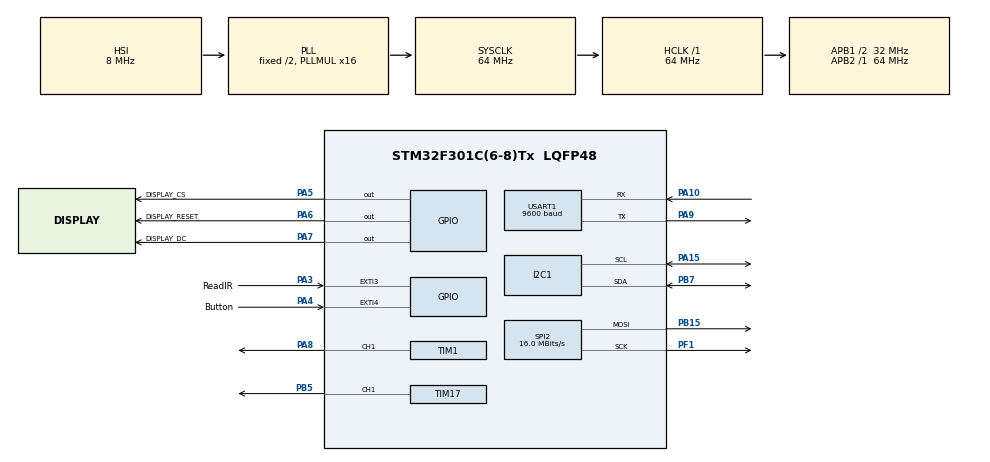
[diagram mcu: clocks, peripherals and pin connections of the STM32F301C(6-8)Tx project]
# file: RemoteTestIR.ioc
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Mcu.Family=STM32F3
Mcu.Name=STM32F301C(6-8)Tx
Mcu.Package=LQFP48
NVIC.EXTI3_IRQn=true\:0\:0\:false\:false\:true\:true\:true\:true
NVIC.PriorityGroup=NVIC_PRIORITYGROUP_4
PA10.Mode=Asynchronous
PA10.Signal=USART1_RX
PA15.Mode=I2C
PA15.Signal=I2C1_SCL
PA3.GPIO_Label=ReadIR
PA3.GPIO_ModeDefaultEXTI=GPIO_MODE_IT_RISING_FALLING
PA3.Signal=GPXTI3
PA4.GPIO_Label=Button
PA4.GPIO_ModeDefaultEXTI=GPIO_MODE_IT_RISING
PA4.GPIO_PuPd=GPIO_PULLUP
PA4.Signal=GPXTI4
PA5.GPIO_Label=DISPLAY_CS
PA5.Signal=GPIO_Output
PA6.GPIO_Label=DISPLAY_RESET
PA6.Signal=GPIO_Output
PA7.GPIO_Label=DISPLAY_DC
PA7.Signal=GPIO_Output
PA8.Signal=S_TIM1_CH1
PA9.Mode=Asynchronous
PA9.Signal=USART1_TX
PB15.Mode=TX_Only_Simplex_Unidirect_Master
PB15.Signal=SPI2_MOSI
PB5.Signal=S_TIM17_CH1
PB7.Mode=I2C
PB7.Signal=I2C1_SDA
PF1-OSC_OUT.Mode=TX_Only_Simplex_Unidirect_Master
PF1-OSC_OUT.Signal=SPI2_SCK
ProjectManager.HeapSize=0x200
ProjectManager.StackSize=0x400
ProjectManager.TargetToolchain=STM32CubeIDE
RCC.AHBFreq_Value=64000000
RCC.APB1CLKDivider=RCC_HCLK_DIV2
RCC.APB1Freq_Value=32000000
RCC.APB1TimFreq_Value=64000000
RCC.APB2Freq_Value=64000000
RCC.APB2TimFreq_Value=64000000
RCC.CortexFreq_Value=64000000
RCC.HCLKFreq_Value=64000000
RCC.HSE_VALUE=8000000
RCC.HSI_VALUE=8000000
RCC.LSE_VALUE=32768
RCC.PLLMUL=RCC_PLL_MUL16
RCC.SYSCLKFreq_VALUE=64000000
RCC.SYSCLKSourceVirtual=RCC_SYSCLKSOURCE_PLLCLK
SH.S_TIM17_CH1.0=TIM17_CH1,PWM Generation1 CH1
SH.S_TIM1_CH1.0=TIM1_CH1,PWM Generation1 CH1
SPI2.BaudRatePrescaler=SPI_BAUDRATEPRESCALER_2
SPI2.CalculateBaudRate=16.0 MBits/s
SPI2.DataSize=SPI_DATASIZE_8BIT
SPI2.Direction=SPI_DIRECTION_2LINES
SPI2.Mode=SPI_MODE_MASTER
SPI2.VirtualType=VM_MASTER
TIM1.AutoReloadPreload=TIM_AUTORELOAD_PRELOAD_ENABLE
TIM1.Channel-PWM\ Generation1\ CH1=TIM_CHANNEL_1
TIM1.Period=422-1
TIM1.Prescaler=4-1
TIM1.Pulse-PWM\ Generation1\ CH1=211-1
TIM15.AutoReloadPreload=TIM_AUTORELOAD_PRELOAD_ENABLE
TIM15.Prescaler=64-1
TIM17.AutoReloadPreload=TIM_AUTORELOAD_PRELOAD_ENABLE
TIM17.Channel=TIM_CHANNEL_1
TIM17.Period=256-1
TIM17.Prescaler=64000
TIM17.Pulse=128-1
USART1.BaudRate=9600
USART1.VirtualMode-Asynchronous=VM_ASYNC
VP_TIM15_VS_ClockSourceINT.Mode=Internal
VP_TIM17_VS_ClockSourceINT.Mode=Enable_Timer
board=custom

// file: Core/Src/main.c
/* USER CODE BEGIN Header */
/**
  ******************************************************************************
  * @file           : main.c
  * @brief          : Main program body
  ******************************************************************************
  * @attention
  *
  * Copyright (c) 2023 STMicroelectronics.
  * All rights reserved.
  *
  * This software is licensed under terms that can be found in the LICENSE file
  * in the root directory of this software component.
  * If no LICENSE file comes with this software, it is provided AS-IS.
  *
  ******************************************************************************
  */
/* USER CODE END Header */
#include "main.h"

/* USER CODE BEGIN Includes */
#include "Carl.h"

/* USER CODE END Includes */

I2C_HandleTypeDef hi2c1;

SPI_HandleTypeDef hspi2;

TIM_HandleTypeDef htim1;
TIM_HandleTypeDef htim15;
TIM_HandleTypeDef htim17;

UART_HandleTypeDef huart1;

void SystemClock_Config(void);
static void MX_GPIO_Init(void);
static void MX_TIM1_Init(void);
static void MX_TIM15_Init(void);
static void MX_USART1_UART_Init(void);
static void MX_SPI2_Init(void);
static void MX_I2C1_Init(void);
static void MX_TIM17_Init(void);

/* USER CODE BEGIN 0 */
#include <errno.h>
#include <sys/stat.h>
#include <sys/times.h>
#include <sys/unistd.h>
int _write(int file, char *ptr, int len) {
    HAL_StatusTypeDef xStatus;
    switch (file) {
    case STDOUT_FILENO: /*stdout*/
		xStatus = HAL_UART_Transmit(&huart1, (uint8_t*)ptr, len, HAL_MAX_DELAY);
		if (xStatus != HAL_OK) {
			errno = EIO;
			return -1;
		}
        break;
    case STDERR_FILENO: /* stderr */
		xStatus = HAL_UART_Transmit(&huart1, (uint8_t*)ptr, len, HAL_MAX_DELAY);
		if (xStatus != HAL_OK) {
			errno = EIO;
			return -1;
		}
        break;
    default:
        errno = EBADF;
        return -1;
    }
    return len;
}
/* USER CODE END 0 */

int main(void)
{

  /* MCU Configuration--------------------------------------------------------*/

  /* Reset of all peripherals, Initializes the Flash interface and the Systick. */
  HAL_Init();

  /* Configure the system clock */
  SystemClock_Config();

  /* Initialize all configured peripherals */
  MX_GPIO_Init();
  MX_TIM1_Init();
  MX_TIM15_Init();
  MX_USART1_UART_Init();
  MX_SPI2_Init();
  MX_I2C1_Init();
  MX_TIM17_Init();
  /* USER CODE BEGIN 2 */
  All_Carl_Inits();

  //DrawImage(0, 0, 100, 50, LOGODEEL1_DATA);

  /* USER CODE END 2 */

  /* Infinite loop */
  while (1)
  {

    /* USER CODE BEGIN 3 */
	  whilelus();
  }
  /* USER CODE END 3 */
}

void SystemClock_Config(void)
{
  RCC_OscInitTypeDef RCC_OscInitStruct = {0};
  RCC_ClkInitTypeDef RCC_ClkInitStruct = {0};
  RCC_PeriphCLKInitTypeDef PeriphClkInit = {0};

  /** Initializes the RCC Oscillators according to the specified parameters
  * in the RCC_OscInitTypeDef structure.
  */
  RCC_OscInitStruct.OscillatorType = RCC_OSCILLATORTYPE_HSI;
  RCC_OscInitStruct.HSIState = RCC_HSI_ON;
  RCC_OscInitStruct.HSICalibrationValue = RCC_HSICALIBRATION_DEFAULT;
  RCC_OscInitStruct.PLL.PLLState = RCC_PLL_ON;
  RCC_OscInitStruct.PLL.PLLSource = RCC_PLLSOURCE_HSI;
  RCC_OscInitStruct.PLL.PLLMUL = RCC_PLL_MUL16;
  if (HAL_RCC_OscConfig(&RCC_OscInitStruct) != HAL_OK)
  {
    Error_Handler();
  }

  /** Initializes the CPU, AHB and APB buses clocks
  */
  RCC_ClkInitStruct.ClockType = RCC_CLOCKTYPE_HCLK|RCC_CLOCKTYPE_SYSCLK
                              |RCC_CLOCKTYPE_PCLK1|RCC_CLOCKTYPE_PCLK2;
  RCC_ClkInitStruct.SYSCLKSource = RCC_SYSCLKSOURCE_PLLCLK;
  RCC_ClkInitStruct.AHBCLKDivider = RCC_SYSCLK_DIV1;
  RCC_ClkInitStruct.APB1CLKDivider = RCC_HCLK_DIV2;
  RCC_ClkInitStruct.APB2CLKDivider = RCC_HCLK_DIV1;

  if (HAL_RCC_ClockConfig(&RCC_ClkInitStruct, FLASH_LATENCY_2) != HAL_OK)
  {
    Error_Handler();
  }
  PeriphClkInit.PeriphClockSelection = RCC_PERIPHCLK_USART1|RCC_PERIPHCLK_I2C1
                              |RCC_PERIPHCLK_TIM1|RCC_PERIPHCLK_TIM15
                              |RCC_PERIPHCLK_TIM17;
  PeriphClkInit.Usart1ClockSelection = RCC_USART1CLKSOURCE_PCLK1;
  PeriphClkInit.I2c1ClockSelection = RCC_I2C1CLKSOURCE_HSI;
  PeriphClkInit.Tim1ClockSelection = RCC_TIM1CLK_HCLK;
  PeriphClkInit.Tim15ClockSelection = RCC_TIM15CLK_HCLK;
  PeriphClkInit.Tim17ClockSelection = RCC_TIM17CLK_HCLK;
  if (HAL_RCCEx_PeriphCLKConfig(&PeriphClkInit) != HAL_OK)
  {
    Error_Handler();
  }
}

static void MX_I2C1_Init(void)
{

  hi2c1.Instance = I2C1;
  hi2c1.Init.Timing = 0x2000090E;
  hi2c1.Init.OwnAddress1 = 0;
  hi2c1.Init.AddressingMode = I2C_ADDRESSINGMODE_7BIT;
  hi2c1.Init.DualAddressMode = I2C_DUALADDRESS_DISABLE;
  hi2c1.Init.OwnAddress2 = 0;
  hi2c1.Init.OwnAddress2Masks = I2C_OA2_NOMASK;
  hi2c1.Init.GeneralCallMode = I2C_GENERALCALL_DISABLE;
  hi2c1.Init.NoStretchMode = I2C_NOSTRETCH_DISABLE;
  if (HAL_I2C_Init(&hi2c1) != HAL_OK)
  {
    Error_Handler();
  }

  /** Configure Analogue filter
  */
  if (HAL_I2CEx_ConfigAnalogFilter(&hi2c1, I2C_ANALOGFILTER_ENABLE) != HAL_OK)
  {
    Error_Handler();
  }

  /** Configure Digital filter
  */
  if (HAL_I2CEx_ConfigDigitalFilter(&hi2c1, 0) != HAL_OK)
  {
    Error_Handler();
  }

}

static void MX_SPI2_Init(void)
{

  /* SPI2 parameter configuration*/
  hspi2.Instance = SPI2;
  hspi2.Init.Mode = SPI_MODE_MASTER;
  hspi2.Init.Direction = SPI_DIRECTION_2LINES;
  hspi2.Init.DataSize = SPI_DATASIZE_8BIT;
  hspi2.Init.CLKPolarity = SPI_POLARITY_LOW;
  hspi2.Init.CLKPhase = SPI_PHASE_1EDGE;
  hspi2.Init.NSS = SPI_NSS_SOFT;
  hspi2.Init.BaudRatePrescaler = SPI_BAUDRATEPRESCALER_2;
  hspi2.Init.FirstBit = SPI_FIRSTBIT_MSB;
  hspi2.Init.TIMode = SPI_TIMODE_DISABLE;
  hspi2.Init.CRCCalculation = SPI_CRCCALCULATION_DISABLE;
  hspi2.Init.CRCPolynomial = 7;
  hspi2.Init.CRCLength = SPI_CRC_LENGTH_DATASIZE;
  hspi2.Init.NSSPMode = SPI_NSS_PULSE_ENABLE;
  if (HAL_SPI_Init(&hspi2) != HAL_OK)
  {
    Error_Handler();
  }

}

static void MX_TIM1_Init(void)
{

  TIM_MasterConfigTypeDef sMasterConfig = {0};
  TIM_OC_InitTypeDef sConfigOC = {0};
  TIM_BreakDeadTimeConfigTypeDef sBreakDeadTimeConfig = {0};

  htim1.Instance = TIM1;
  htim1.Init.Prescaler = 4-1;
  htim1.Init.CounterMode = TIM_COUNTERMODE_UP;
  htim1.Init.Period = 422-1;
  htim1.Init.ClockDivision = TIM_CLOCKDIVISION_DIV1;
  htim1.Init.RepetitionCounter = 0;
  htim1.Init.AutoReloadPreload = TIM_AUTORELOAD_PRELOAD_ENABLE;
  if (HAL_TIM_PWM_Init(&htim1) != HAL_OK)
  {
    Error_Handler();
  }
  sMasterConfig.MasterOutputTrigger = TIM_TRGO_RESET;
  sMasterConfig.MasterOutputTrigger2 = TIM_TRGO2_RESET;
  sMasterConfig.MasterSlaveMode = TIM_MASTERSLAVEMODE_DISABLE;
  if (HAL_TIMEx_MasterConfigSynchronization(&htim1, &sMasterConfig) != HAL_OK)
  {
    Error_Handler();
  }
  sConfigOC.OCMode = TIM_OCMODE_PWM1;
  sConfigOC.Pulse = 211-1;
  sConfigOC.OCPolarity = TIM_OCPOLARITY_HIGH;
  sConfigOC.OCNPolarity = TIM_OCNPOLARITY_HIGH;
  sConfigOC.OCFastMode = TIM_OCFAST_DISABLE;
  sConfigOC.OCIdleState = TIM_OCIDLESTATE_RESET;
  sConfigOC.OCNIdleState = TIM_OCNIDLESTATE_RESET;
  if (HAL_TIM_PWM_ConfigChannel(&htim1, &sConfigOC, TIM_CHANNEL_1) != HAL_OK)
  {
    Error_Handler();
  }
  sBreakDeadTimeConfig.OffStateRunMode = TIM_OSSR_DISABLE;
  sBreakDeadTimeConfig.OffStateIDLEMode = TIM_OSSI_DISABLE;
  sBreakDeadTimeConfig.LockLevel = TIM_LOCKLEVEL_OFF;
  sBreakDeadTimeConfig.DeadTime = 0;
  sBreakDeadTimeConfig.BreakState = TIM_BREAK_DISABLE;
  sBreakDeadTimeConfig.BreakPolarity = TIM_BREAKPOLARITY_HIGH;
  sBreakDeadTimeConfig.BreakFilter = 0;
  sBreakDeadTimeConfig.Break2State = TIM_BREAK2_DISABLE;
  sBreakDeadTimeConfig.Break2Polarity = TIM_BREAK2POLARITY_HIGH;
  sBreakDeadTimeConfig.Break2Filter = 0;
  sBreakDeadTimeConfig.AutomaticOutput = TIM_AUTOMATICOUTPUT_DISABLE;
  if (HAL_TIMEx_ConfigBreakDeadTime(&htim1, &sBreakDeadTimeConfig) != HAL_OK)
  {
    Error_Handler();
  }
  HAL_TIM_MspPostInit(&htim1);

}

static void MX_TIM15_Init(void)
{

  TIM_ClockConfigTypeDef sClockSourceConfig = {0};
  TIM_MasterConfigTypeDef sMasterConfig = {0};

  htim15.Instance = TIM15;
  htim15.Init.Prescaler = 64-1;
  htim15.Init.CounterMode = TIM_COUNTERMODE_UP;
  htim15.Init.Period = 65535;
  htim15.Init.ClockDivision = TIM_CLOCKDIVISION_DIV1;
  htim15.Init.RepetitionCounter = 0;
  htim15.Init.AutoReloadPreload = TIM_AUTORELOAD_PRELOAD_ENABLE;
  if (HAL_TIM_Base_Init(&htim15) != HAL_OK)
  {
    Error_Handler();
  }
  sClockSourceConfig.ClockSource = TIM_CLOCKSOURCE_INTERNAL;
  if (HAL_TIM_ConfigClockSource(&htim15, &sClockSourceConfig) != HAL_OK)
  {
    Error_Handler();
  }
  sMasterConfig.MasterOutputTrigger = TIM_TRGO_RESET;
  sMasterConfig.MasterSlaveMode = TIM_MASTERSLAVEMODE_DISABLE;
  if (HAL_TIMEx_MasterConfigSynchronization(&htim15, &sMasterConfig) != HAL_OK)
  {
    Error_Handler();
  }

}

static void MX_TIM17_Init(void)
{

  TIM_OC_InitTypeDef sConfigOC = {0};
  TIM_BreakDeadTimeConfigTypeDef sBreakDeadTimeConfig = {0};

  htim17.Instance = TIM17;
  htim17.Init.Prescaler = 64000;
  htim17.Init.CounterMode = TIM_COUNTERMODE_UP;
  htim17.Init.Period = 256-1;
  htim17.Init.ClockDivision = TIM_CLOCKDIVISION_DIV1;
  htim17.Init.RepetitionCounter = 0;
  htim17.Init.AutoReloadPreload = TIM_AUTORELOAD_PRELOAD_ENABLE;
  if (HAL_TIM_Base_Init(&htim17) != HAL_OK)
  {
    Error_Handler();
  }
  if (HAL_TIM_PWM_Init(&htim17) != HAL_OK)
  {
    Error_Handler();
  }
  sConfigOC.OCMode = TIM_OCMODE_PWM1;
  sConfigOC.Pulse = 128-1;
  sConfigOC.OCPolarity = TIM_OCPOLARITY_HIGH;
  sConfigOC.OCNPolarity = TIM_OCNPOLARITY_HIGH;
  sConfigOC.OCFastMode = TIM_OCFAST_DISABLE;
  sConfigOC.OCIdleState = TIM_OCIDLESTATE_RESET;
  sConfigOC.OCNIdleState = TIM_OCNIDLESTATE_RESET;
  if (HAL_TIM_PWM_ConfigChannel(&htim17, &sConfigOC, TIM_CHANNEL_1) != HAL_OK)
  {
    Error_Handler();
  }
  sBreakDeadTimeConfig.OffStateRunMode = TIM_OSSR_DISABLE;
  sBreakDeadTimeConfig.OffStateIDLEMode = TIM_OSSI_DISABLE;
  sBreakDeadTimeConfig.LockLevel = TIM_LOCKLEVEL_OFF;
  sBreakDeadTimeConfig.DeadTime = 0;
  sBreakDeadTimeConfig.BreakState = TIM_BREAK_DISABLE;
  sBreakDeadTimeConfig.BreakPolarity = TIM_BREAKPOLARITY_HIGH;
  sBreakDeadTimeConfig.BreakFilter = 0;
  sBreakDeadTimeConfig.AutomaticOutput = TIM_AUTOMATICOUTPUT_DISABLE;
  if (HAL_TIMEx_ConfigBreakDeadTime(&htim17, &sBreakDeadTimeConfig) != HAL_OK)
  {
    Error_Handler();
  }
  HAL_TIM_MspPostInit(&htim17);

}

static void MX_USART1_UART_Init(void)
{

  huart1.Instance = USART1;
  huart1.Init.BaudRate = 9600;
  huart1.Init.WordLength = UART_WORDLENGTH_8B;
  huart1.Init.StopBits = UART_STOPBITS_1;
  huart1.Init.Parity = UART_PARITY_NONE;
  huart1.Init.Mode = UART_MODE_TX_RX;
  huart1.Init.HwFlowCtl = UART_HWCONTROL_NONE;
  huart1.Init.OverSampling = UART_OVERSAMPLING_16;
  huart1.Init.OneBitSampling = UART_ONE_BIT_SAMPLE_DISABLE;
  huart1.AdvancedInit.AdvFeatureInit = UART_ADVFEATURE_NO_INIT;
  if (HAL_UART_Init(&huart1) != HAL_OK)
  {
    Error_Handler();
  }

}

static void MX_GPIO_Init(void)
{
  GPIO_InitTypeDef GPIO_InitStruct = {0};

  /* GPIO Ports Clock Enable */
  __HAL_RCC_GPIOF_CLK_ENABLE();
  __HAL_RCC_GPIOA_CLK_ENABLE();
  __HAL_RCC_GPIOB_CLK_ENABLE();

  /*Configure GPIO pin Output Level */
  HAL_GPIO_WritePin(GPIOA, DISPLAY_CS_Pin|DISPLAY_RESET_Pin|DISPLAY_DC_Pin, GPIO_PIN_RESET);

  /*Configure GPIO pin : ReadIR_Pin */
  GPIO_InitStruct.Pin = ReadIR_Pin;
  GPIO_InitStruct.Mode = GPIO_MODE_IT_RISING_FALLING;
  GPIO_InitStruct.Pull = GPIO_NOPULL;
  HAL_GPIO_Init(ReadIR_GPIO_Port, &GPIO_InitStruct);

  /*Configure GPIO pin : Button_Pin */
  GPIO_InitStruct.Pin = Button_Pin;
  GPIO_InitStruct.Mode = GPIO_MODE_IT_RISING;
  GPIO_InitStruct.Pull = GPIO_PULLUP;
  HAL_GPIO_Init(Button_GPIO_Port, &GPIO_InitStruct);

  /*Configure GPIO pins : DISPLAY_CS_Pin DISPLAY_RESET_Pin DISPLAY_DC_Pin */
  GPIO_InitStruct.Pin = DISPLAY_CS_Pin|DISPLAY_RESET_Pin|DISPLAY_DC_Pin;
  GPIO_InitStruct.Mode = GPIO_MODE_OUTPUT_PP;
  GPIO_InitStruct.Pull = GPIO_NOPULL;
  GPIO_InitStruct.Speed = GPIO_SPEED_FREQ_LOW;
  HAL_GPIO_Init(GPIOA, &GPIO_InitStruct);

  /* EXTI interrupt init*/
  HAL_NVIC_SetPriority(EXTI3_IRQn, 0, 0);
  HAL_NVIC_EnableIRQ(EXTI3_IRQn);

}

void Error_Handler(void)
{
  __disable_irq();
  while (1)
  {
  }
}
